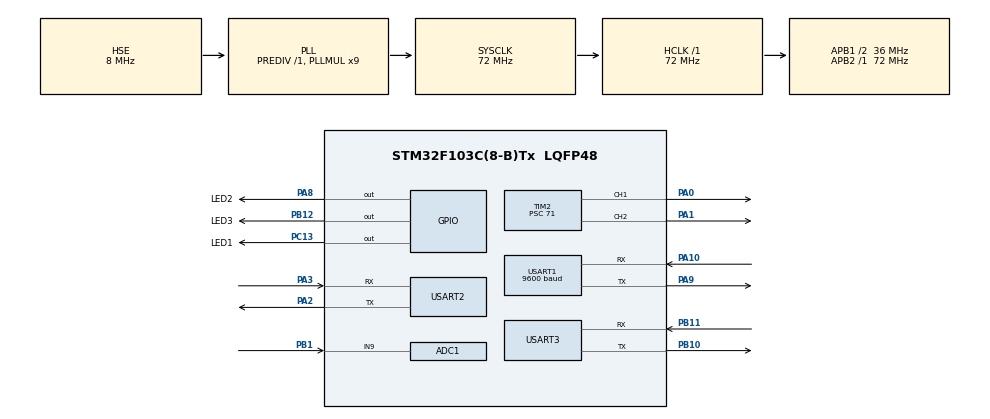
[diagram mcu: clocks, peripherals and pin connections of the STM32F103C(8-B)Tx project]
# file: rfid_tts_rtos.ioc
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ADC1.Channel-0\#ChannelRegularConversion=ADC_CHANNEL_9
ADC1.ContinuousConvMode=ENABLE
ADC1.NbrOfConversionFlag=1
ADC1.Rank-0\#ChannelRegularConversion=1
ADC1.SamplingTime-0\#ChannelRegularConversion=ADC_SAMPLETIME_1CYCLE_5
ADC1.master=1
FREERTOS.Tasks01=defaultTask,0,128,StartDefaultTask,Default,NULL,Dynamic,NULL,NULL
Mcu.Family=STM32F1
Mcu.Name=STM32F103C(8-B)Tx
Mcu.Package=LQFP48
NVIC.PriorityGroup=NVIC_PRIORITYGROUP_4
NVIC.TIM1_UP_IRQn=true\:15\:0\:false\:false\:true\:false\:false\:true\:true
NVIC.TimeBase=TIM1_UP_IRQn
NVIC.TimeBaseIP=TIM1
NVIC.USART1_IRQn=true\:5\:0\:true\:false\:true\:true\:true\:true\:true
NVIC.USART2_IRQn=true\:5\:0\:true\:false\:true\:true\:true\:true\:true
PA0-WKUP.Signal=S_TIM2_CH1_ETR
PA1.Signal=S_TIM2_CH2
PA10.Mode=Asynchronous
PA10.Signal=USART1_RX
PA13.Mode=Serial_Wire
PA13.Signal=SYS_JTMS-SWDIO
PA14.Mode=Serial_Wire
PA14.Signal=SYS_JTCK-SWCLK
PA2.Mode=Asynchronous
PA2.Signal=USART2_TX
PA3.Mode=Asynchronous
PA3.Signal=USART2_RX
PA8.GPIO_Label=LED2
PA8.GPIO_PuPd=GPIO_PULLUP
PA8.GPIO_Speed=GPIO_SPEED_FREQ_HIGH
PA8.PinState=GPIO_PIN_SET
PA8.Signal=GPIO_Output
PA9.Mode=Asynchronous
PA9.Signal=USART1_TX
PB1.Signal=ADCx_IN9
PB10.Mode=Asynchronous
PB10.Signal=USART3_TX
PB11.Mode=Asynchronous
PB11.Signal=USART3_RX
PB12.GPIO_Label=LED3
PB12.GPIO_PuPd=GPIO_PULLUP
PB12.GPIO_Speed=GPIO_SPEED_FREQ_HIGH
PB12.PinState=GPIO_PIN_SET
PB12.Signal=GPIO_Output
PC13-TAMPER-RTC.GPIO_Label=LED1
PC13-TAMPER-RTC.GPIO_PuPd=GPIO_PULLUP
PC13-TAMPER-RTC.GPIO_Speed=GPIO_SPEED_FREQ_HIGH
PC13-TAMPER-RTC.PinState=GPIO_PIN_SET
PC13-TAMPER-RTC.Signal=GPIO_Output
PD0-OSC_IN.Mode=HSE-External-Oscillator
PD0-OSC_IN.Signal=RCC_OSC_IN
PD1-OSC_OUT.Mode=HSE-External-Oscillator
PD1-OSC_OUT.Signal=RCC_OSC_OUT
ProjectManager.HeapSize=0x200
ProjectManager.StackSize=0x400
ProjectManager.TargetToolchain=CMake
RCC.ADCPresc=RCC_ADCPCLK2_DIV6
RCC.AHBFreq_Value=72000000
RCC.APB1CLKDivider=RCC_HCLK_DIV2
RCC.APB1Freq_Value=36000000
RCC.APB1TimFreq_Value=72000000
RCC.APB2Freq_Value=72000000
RCC.APB2TimFreq_Value=72000000
RCC.HCLKFreq_Value=72000000
RCC.PLLMUL=RCC_PLL_MUL9
RCC.PLLSourceVirtual=RCC_PLLSOURCE_HSE
RCC.SYSCLKFreq_VALUE=72000000
RCC.SYSCLKSource=RCC_SYSCLKSOURCE_PLLCLK
RCC.USBFreq_Value=72000000
SH.ADCx_IN9.0=ADC1_IN9,IN9
SH.S_TIM2_CH1_ETR.0=TIM2_CH1,PWM Generation1 CH1
SH.S_TIM2_CH2.0=TIM2_CH2,PWM Generation2 CH2
TIM2.Channel-PWM\ Generation1\ CH1=TIM_CHANNEL_1
TIM2.Channel-PWM\ Generation2\ CH2=TIM_CHANNEL_2
TIM2.OC1Preload_PWM=DISABLE
TIM2.OCFastMode_PWM-PWM\ Generation1\ CH1=TIM_OCFAST_ENABLE
TIM2.OCMode_PWM-PWM\ Generation1\ CH1=TIM_OCMODE_PWM2
TIM2.Period=999
TIM2.Prescaler=71
USART1.BaudRate=9600
USART1.VirtualMode=VM_ASYNC
USART2.VirtualMode=VM_ASYNC
USART3.VirtualMode=VM_ASYNC
VP_FREERTOS_VS_CMSIS_V1.Mode=CMSIS_V1
VP_SYS_VS_tim1.Mode=TIM1
board=custom

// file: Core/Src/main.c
/* USER CODE BEGIN Header */
/**
  ******************************************************************************
  * @file           : main.c
  * @brief          : Main program body
  ******************************************************************************
  * @attention
  *
  * Copyright (c) 2026 STMicroelectronics.
  * All rights reserved.
  *
  * This software is licensed under terms that can be found in the LICENSE file
  * in the root directory of this software component.
  * If no LICENSE file comes with this software, it is provided AS-IS.
  *
  ******************************************************************************
  */
/* USER CODE END Header */
#include "main.h"
#include "cmsis_os.h"
#include "adc.h"
#include "tim.h"
#include "usart.h"
#include "gpio.h"

/* USER CODE BEGIN Includes */
#include "BSP_USART.h"
#include "led.h"
#include "PWM.h"
#include "Card.h"
#include "Debug.h"
/* USER CODE END Includes */

void SystemClock_Config(void);
void MX_FREERTOS_Init(void);

/* USER CODE BEGIN 0 */
extern uint8_t card_res;
/* USER CODE END 0 */

int main(void)
{

  /* MCU Configuration--------------------------------------------------------*/

  /* Reset of all peripherals, Initializes the Flash interface and the Systick. */
  HAL_Init();

  /* Configure the system clock */
  SystemClock_Config();

  /* Initialize all configured peripherals */
  MX_GPIO_Init();
  MX_ADC1_Init();
  MX_TIM2_Init();
  MX_USART1_UART_Init();
  MX_USART2_UART_Init();
  MX_USART3_UART_Init();
  /* USER CODE BEGIN 2 */
  LED_Sta( 0 );                 /* LED 初始化熄灭 */
  PWM_Init();                   /* 启动 PWM */
  Motor_Control( 0 );           /* 电机初始速度 0 */
  Dbg_Init();                   /* 数据输出串口（输出 [SYS] boot） */
  /* 读卡串口接收中断已在 usart.c USART1_Init 2 区使能（防 ORE），此处不再重复 */
  /* USER CODE END 2 */

  /* Call init function for freertos objects (in cmsis_os2.c) */
  MX_FREERTOS_Init();

  /* Start scheduler */
  osKernelStart();

  /* We should never get here as control is now taken by the scheduler */

  /* Infinite loop */
  while (1)
  {

  }
}

void SystemClock_Config(void)
{
  RCC_OscInitTypeDef RCC_OscInitStruct = {0};
  RCC_ClkInitTypeDef RCC_ClkInitStruct = {0};
  RCC_PeriphCLKInitTypeDef PeriphClkInit = {0};

  /** Initializes the RCC Oscillators according to the specified parameters
  * in the RCC_OscInitTypeDef structure.
  */
  RCC_OscInitStruct.OscillatorType = RCC_OSCILLATORTYPE_HSE;
  RCC_OscInitStruct.HSEState = RCC_HSE_ON;
  RCC_OscInitStruct.HSEPredivValue = RCC_HSE_PREDIV_DIV1;
  RCC_OscInitStruct.HSIState = RCC_HSI_ON;
  RCC_OscInitStruct.PLL.PLLState = RCC_PLL_ON;
  RCC_OscInitStruct.PLL.PLLSource = RCC_PLLSOURCE_HSE;
  RCC_OscInitStruct.PLL.PLLMUL = RCC_PLL_MUL9;
  if (HAL_RCC_OscConfig(&RCC_OscInitStruct) != HAL_OK)
  {
    Error_Handler();
  }

  /** Initializes the CPU, AHB and APB buses clocks
  */
  RCC_ClkInitStruct.ClockType = RCC_CLOCKTYPE_HCLK|RCC_CLOCKTYPE_SYSCLK
                              |RCC_CLOCKTYPE_PCLK1|RCC_CLOCKTYPE_PCLK2;
  RCC_ClkInitStruct.SYSCLKSource = RCC_SYSCLKSOURCE_PLLCLK;
  RCC_ClkInitStruct.AHBCLKDivider = RCC_SYSCLK_DIV1;
  RCC_ClkInitStruct.APB1CLKDivider = RCC_HCLK_DIV2;
  RCC_ClkInitStruct.APB2CLKDivider = RCC_HCLK_DIV1;

  if (HAL_RCC_ClockConfig(&RCC_ClkInitStruct, FLASH_LATENCY_2) != HAL_OK)
  {
    Error_Handler();
  }
  PeriphClkInit.PeriphClockSelection = RCC_PERIPHCLK_ADC;
  PeriphClkInit.AdcClockSelection = RCC_ADCPCLK2_DIV6;
  if (HAL_RCCEx_PeriphCLKConfig(&PeriphClkInit) != HAL_OK)
  {
    Error_Handler();
  }
}

void HAL_TIM_PeriodElapsedCallback(TIM_HandleTypeDef *htim)
{
  if (htim->Instance == TIM1)
  {
    HAL_IncTick();
  }
}

void Error_Handler(void)
{
  __disable_irq();
  while (1)
  {
  }
}

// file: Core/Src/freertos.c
/* USER CODE BEGIN Header */
/**
  ******************************************************************************
  * File Name          : freertos.c
  * Description        : Code for freertos applications
  ******************************************************************************
  * @attention
  *
  * Copyright (c) 2026 STMicroelectronics.
  * All rights reserved.
  *
  * This software is licensed under terms that can be found in the LICENSE file
  * in the root directory of this software component.
  * If no LICENSE file comes with this software, it is provided AS-IS.
  *
  ******************************************************************************
  */
/* USER CODE END Header */

#include "FreeRTOS.h"
#include "task.h"
#include "main.h"
#include "cmsis_os.h"

/* USER CODE BEGIN Includes */
#include "nvs_params.h"
#include "param_cli.h"
#include "isp_jump.h"
/* USER CODE END Includes */

osThreadId defaultTaskHandle;
osThreadId RFID_TASKHandle;
osThreadId MOTOR_CONTROLHandle;

/* USER CODE BEGIN FunctionPrototypes */
void RFID_Task(void const * argument);
void Motor_Control_Task(void const * argument);
/* USER CODE END FunctionPrototypes */

void StartDefaultTask(void const * argument);

void MX_FREERTOS_Init(void); /* (MISRA C 2004 rule 8.1) */

/* GetIdleTaskMemory prototype (linked to static allocation support) */
void vApplicationGetIdleTaskMemory( StaticTask_t **ppxIdleTaskTCBBuffer, StackType_t **ppxIdleTaskStackBuffer, uint32_t *pulIdleTaskStackSize );

/* USER CODE BEGIN GET_IDLE_TASK_MEMORY */
static StaticTask_t xIdleTaskTCBBuffer;
static StackType_t xIdleStack[configMINIMAL_STACK_SIZE];

void vApplicationGetIdleTaskMemory( StaticTask_t **ppxIdleTaskTCBBuffer, StackType_t **ppxIdleTaskStackBuffer, uint32_t *pulIdleTaskStackSize )
{
  *ppxIdleTaskTCBBuffer = &xIdleTaskTCBBuffer;
  *ppxIdleTaskStackBuffer = &xIdleStack[0];
  *pulIdleTaskStackSize = configMINIMAL_STACK_SIZE;
  /* place for user code */
}
/* USER CODE END GET_IDLE_TASK_MEMORY */

void MX_FREERTOS_Init(void) {
  /* USER CODE BEGIN Init */
  params_init();          /* 读 Flash 末页参数（失败回落默认，先于所有任务） */
  params_apply();         /* 注入电机时序+触发词规则 */
  ParamCli_Init();        /* 使能 USART3 接收（串口配置模式） */
  /* USER CODE END Init */

  /* Create the thread(s) */
  /* definition and creation of defaultTask */
  osThreadDef(defaultTask, StartDefaultTask, osPriorityNormal, 0, 512);  /* 512字: CLI解析+格式化打印 */
  defaultTaskHandle = osThreadCreate(osThread(defaultTask), NULL);

  /* USER CODE BEGIN RTOS_THREADS */
  /* definition and creation of RFID_TASK */
  osThreadDef(RFID_TASK, RFID_Task, osPriorityHigh, 0, 1024);
  RFID_TASKHandle = osThreadCreate(osThread(RFID_TASK), NULL);

  /* definition and creation of MOTOR_CONTROL */
  osThreadDef(MOTOR_CONTROL, Motor_Control_Task, osPriorityIdle, 0, 512);
  MOTOR_CONTROLHandle = osThreadCreate(osThread(MOTOR_CONTROL), NULL);
  /* USER CODE END RTOS_THREADS */

}

void StartDefaultTask(void const * argument)
{
  /* USER CODE BEGIN StartDefaultTask */
  /* 主循环：串口配置模式轮询（USART3 行协议，10ms 节拍） */
  for(;;)
  {
    ParamCli_Poll();
    if( ParamCli_ShouldEnterIsp() )   /* ISP 命令：留足应答时间后软跳 Bootloader */
    {
      osDelay(100);
      ISP_Enter();
    }
    osDelay(10);
  }
  /* USER CODE END StartDefaultTask */
}
